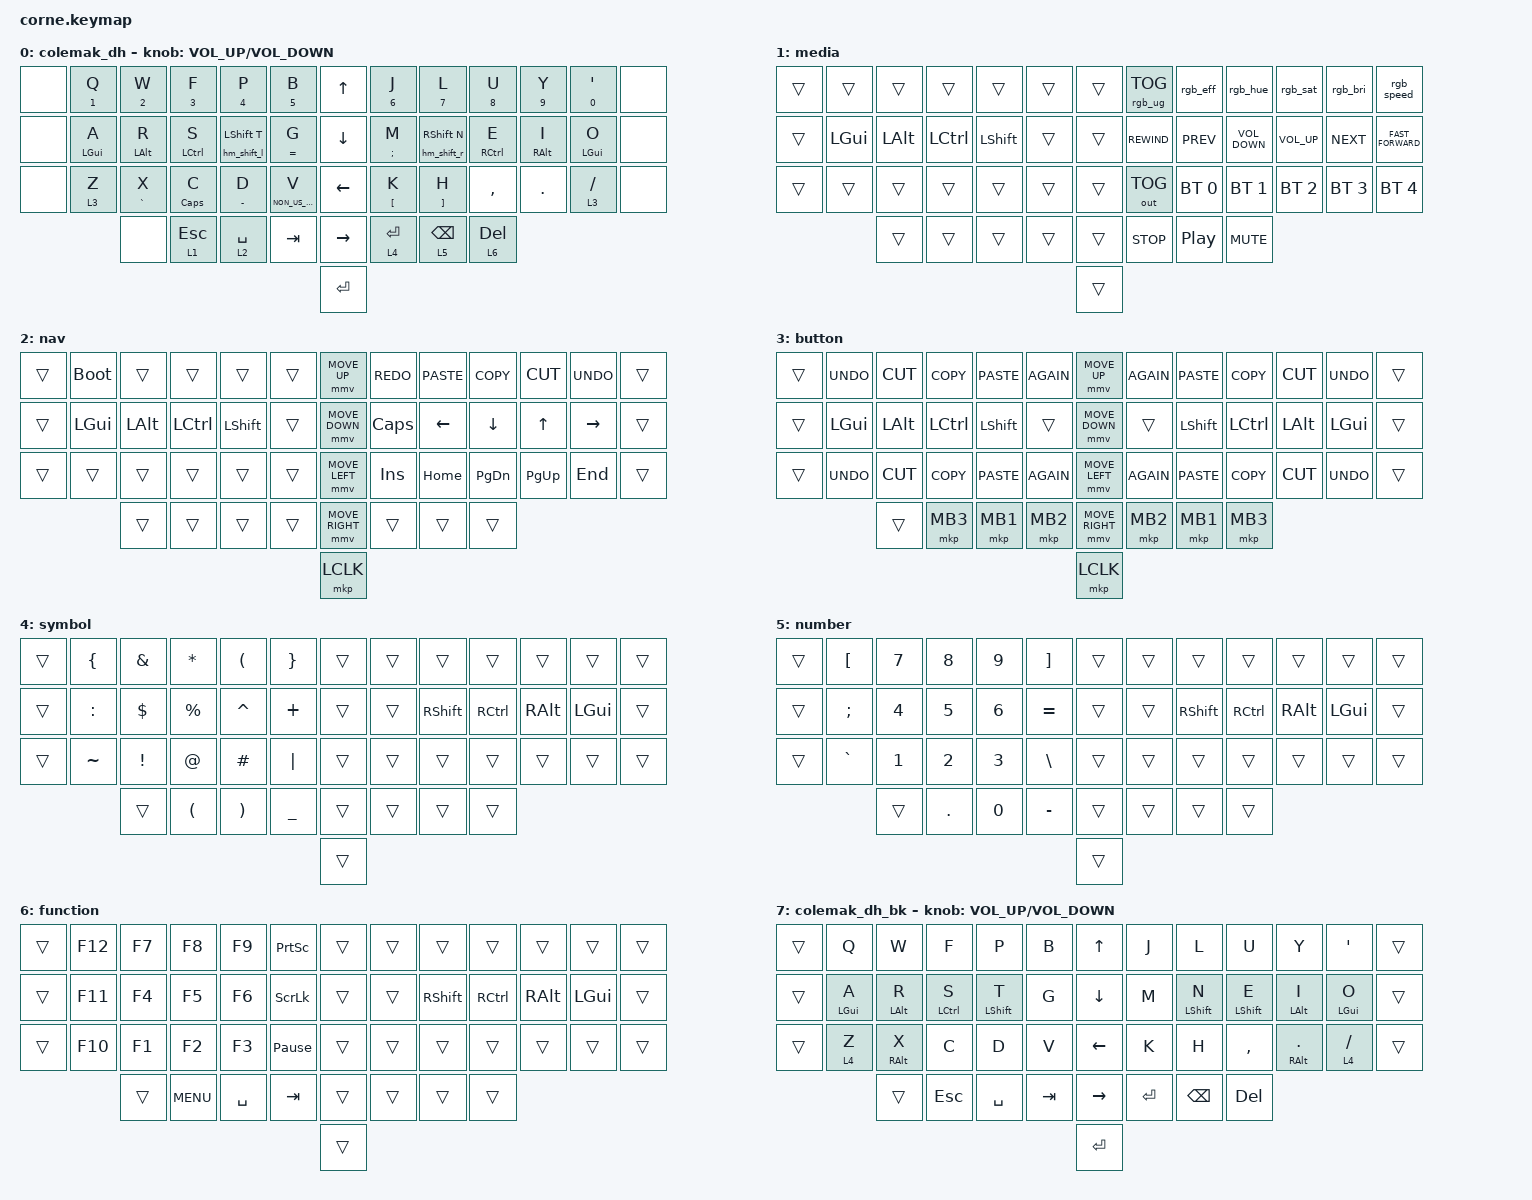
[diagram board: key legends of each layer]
#include <behaviors/mouse_keys.dtsi>
#include <dt-bindings/zmk/mouse.h>
#include <behaviors.dtsi>
#include <dt-bindings/zmk/bt.h>
#include <dt-bindings/zmk/keys.h>
#include <dt-bindings/zmk/outputs.h>
#include <dt-bindings/zmk/rgb.h>

#include "zmk-helpers/key-labels/42.h"

#define KEYS_L LT0 LT1 LT2 LT3 LT4 LM0 LM1 LM2 LM3 LM4 LB0 LB1 LB2 LB3 LB4
#define KEYS_R RT0 RT1 RT2 RT3 RT4 RM0 RM1 RM2 RM3 RM4 RB0 RB1 RB2 RB3 RB4
#define KEYS_T LH2 LH1 LH0 RH0 RH1 RH2

#include "includes/settings.dtsi"
#include "includes/behaviours_homerow_mods.dtsi"

#define U_MS_U &mmv MOVE_UP
#define U_MS_D &mmv MOVE_DOWN
#define U_MS_L &mmv MOVE_LEFT
#define U_MS_R &mmv MOVE_RIGHT


/ {
    behaviors {
        rgb_eff: rgb_eff {
            compatible = "zmk,behavior-mod-morph";
            label = "RGB_EFF";
            bindings = <&rgb_ug RGB_EFF>, <&rgb_ug RGB_EFR>;

            #binding-cells = <0>;
            mods = <(MOD_LSFT)>;
        };

        rgb_hue: rgb_hue {
            compatible = "zmk,behavior-mod-morph";
            label = "RGB_HUE";
            bindings = <&rgb_ug RGB_HUI>, <&rgb_ug RGB_HUD>;

            #binding-cells = <0>;
            mods = <(MOD_LSFT)>;
        };
        
        rgb_sat: rgb_sat {
            compatible = "zmk,behavior-mod-morph";
            label = "RGB_SAT";
            bindings = <&rgb_ug RGB_SAI>, <&rgb_ug RGB_SAD>;

            #binding-cells = <0>;
            mods = <(MOD_LSFT)>;
        };

        rgb_bri: rgb_bri {
            compatible = "zmk,behavior-mod-morph";
            label = "RGB_BRI";
            bindings = <&rgb_ug RGB_BRI>, <&rgb_ug RGB_BRD>;

            #binding-cells = <0>;
            mods = <(MOD_LSFT)>;
        };

        rgb_speed: rgb_speed {
            compatible = "zmk,behavior-mod-morph";
            label = "RGB_SPEED";
            bindings = <&rgb_ug RGB_SPI>, <&rgb_ug RGB_SPD>;

            #binding-cells = <0>;
            mods = <(MOD_LSFT)>;
        };

        number_mt: number_mt {
            compatible = "zmk,behavior-hold-tap";
            label = "NUMBER_MT";
            #binding-cells = <2>;
            tapping-term-ms = <250>;
            quick-tap-ms = <0>;
            flavor = "tap-preferred";
            bindings = <&kp>, <&kp>;
        };

        mmv {
            acceleration-exponent = <1>;      // 1
            time-to-max-speed-ms = <900>;    // 40
            delay-ms = <0>;                   // 0
        };

        msc {
            acceleration-exponent = <1>;      // 0
            time-to-max-speed-ms = <400>;      // 500
            delay-ms = <0>;                   // 10
        };
    };

    rgb_encoder: rgb_encoder {
        compatible = "zmk,behavior-sensor-rotate";
        label = "RGB_ENCODER";
        #sensor-binding-cells = <0>;
        bindings = <&rgb_ug RGB_BRI>, <&rgb_ug RGB_BRD>;
    };

    scroll_encoder: scroll_encoder {
        compatible = "zmk,behavior-sensor-rotate";
        #sensor-binding-cells = <0>;
        bindings = <&msc SCRL_DOWN>, <&msc SCRL_UP>;

        tap-ms = <30>;
    };

    keymap {
        compatible = "zmk,keymap";

        Base {
            bindings = <
&none  &number_mt NUMBER_1 Q  &number_mt NUMBER_2 W  &number_mt NUMBER_3 F  &number_mt NUMBER_4 P  &number_mt N5 B                  &kp UP_ARROW     &number_mt NUMBER_6 J      &number_mt N7 L             &number_mt N8 U        &mt N9 Y           &number_mt N0 SINGLE_QUOTE  &none
&none  &hm_l LEFT_GUI A       &hm_l LEFT_ALT R       &hm_l LEFT_CONTROL S   &hm_shift_l LSHIFT T   &number_mt EQUAL G               &kp DOWN_ARROW   &number_mt SEMICOLON M     &hm_shift_r RSHIFT N        &hm_r RIGHT_CONTROL E  &hm_r RIGHT_ALT I  &hm_r LEFT_GUI O            &none
&none  &lt 3 Z                &number_mt GRAVE X     &number_mt CAPS C      &number_mt MINUS D     &number_mt NON_US_BACKSLASH V    &kp LEFT_ARROW   &number_mt LEFT_BRACKET K  &number_mt RIGHT_BRACKET H  &kp COMMA              &kp PERIOD         &lt 3 SLASH                 &none
                              &none                  &lt 1 ESC              &lt 2 SPACE            &kp TAB                          &kp RIGHT_ARROW  &lt 4 ENTER                &lt 5 BACKSPACE             &lt 6 DEL
                                                                                                                                    &kp ENTER
            >;

            label = "colemak_dh";
            sensor-bindings = <&inc_dec_kp C_VOLUME_UP C_VOLUME_DOWN>;
        };

        Media {
            bindings = <
&trans  &trans    &trans    &trans     &trans     &trans    &trans  &rgb_ug RGB_TOG  &rgb_eff          &rgb_hue           &rgb_sat         &rgb_bri         &rgb_speed
&trans  &kp LGUI  &kp LALT  &kp LCTRL  &kp LSHFT  &trans    &trans  &kp C_REWIND     &kp C_PREV        &kp C_VOLUME_DOWN  &kp C_VOLUME_UP  &kp C_NEXT       &kp C_FAST_FORWARD
&trans  &trans    &trans    &trans     &trans     &trans    &trans  &out OUT_TOG     &bt BT_SEL 0      &bt BT_SEL 1       &bt BT_SEL 2     &bt BT_SEL 3     &bt BT_SEL 4
                  &trans    &trans     &trans     &trans    &trans  &kp C_STOP       &kp C_PLAY_PAUSE  &kp K_MUTE
                                                            &trans
            >;

            label = "media";
        };

        Nav {
            bindings = <
&trans  &bootloader  &trans    &trans     &trans     &trans    &mmv MOVE_UP     &kp K_REDO  &kp K_PASTE  &kp K_COPY  &kp K_CUT  &kp K_UNDO  &trans
&trans  &kp LGUI     &kp LALT  &kp LCTRL  &kp LSHFT  &trans    &mmv MOVE_DOWN   &kp CAPS    &kp LEFT     &kp DOWN    &kp UP     &kp RIGHT   &trans
&trans  &trans       &trans    &trans     &trans     &trans    &mmv MOVE_LEFT   &kp INS     &kp HOME     &kp PG_DN   &kp PG_UP  &kp END     &trans
                     &trans    &trans     &trans     &trans    &mmv MOVE_RIGHT  &trans      &trans       &trans
                                                               &mkp LCLK
            >;

            label = "nav";
        };

        Button {
            bindings = <
&trans  &kp K_UNDO  &kp K_CUT  &kp K_COPY  &kp K_PASTE  &kp K_AGAIN    &mmv MOVE_UP     &kp K_AGAIN  &kp K_PASTE  &kp K_COPY  &kp K_CUT  &kp K_UNDO  &trans
&trans  &kp LGUI    &kp LALT   &kp LCTRL   &kp LSHFT    &trans         &mmv MOVE_DOWN   &trans       &kp LSHFT    &kp LCTRL   &kp LALT   &kp LGUI    &trans
&trans  &kp K_UNDO  &kp K_CUT  &kp K_COPY  &kp K_PASTE  &kp K_AGAIN    &mmv MOVE_LEFT   &kp K_AGAIN  &kp K_PASTE  &kp K_COPY  &kp K_CUT  &kp K_UNDO  &trans
                    &trans     &mkp MB3    &mkp MB1     &mkp MB2       &mmv MOVE_RIGHT  &mkp MB2     &mkp MB1     &mkp MB3
                                                                       &mkp LCLK
            >;

            label = "button";
        };

        symbol {
            bindings = <
&trans  &kp LEFT_BRACE  &kp AMPERSAND    &kp ASTERISK          &kp LEFT_PARENTHESIS   &kp RIGHT_BRACE    &trans  &trans  &trans     &trans     &trans    &trans    &trans
&trans  &kp COLON       &kp DOLLAR       &kp PERCENT           &kp CARET              &kp PLUS           &trans  &trans  &kp RSHFT  &kp RCTRL  &kp RALT  &kp LGUI  &trans
&trans  &kp TILDE       &kp EXCLAMATION  &kp AT_SIGN           &kp POUND              &kp PIPE           &trans  &trans  &trans     &trans     &trans    &trans    &trans
                        &trans           &kp LEFT_PARENTHESIS  &kp RIGHT_PARENTHESIS  &kp UNDERSCORE     &trans  &trans  &trans     &trans
                                                                                                         &trans
            >;
        };

        Number {
            bindings = <
&trans  &kp LBKT   &kp N7  &kp N8   &kp N9  &kp RBKT     &trans  &trans  &trans     &trans     &trans    &trans    &trans
&trans  &kp SEMI   &kp N4  &kp N5   &kp N6  &kp EQUAL    &trans  &trans  &kp RSHFT  &kp RCTRL  &kp RALT  &kp LGUI  &trans
&trans  &kp GRAVE  &kp N1  &kp N2   &kp N3  &kp BSLH     &trans  &trans  &trans     &trans     &trans    &trans    &trans
                   &trans  &kp DOT  &kp N0  &kp MINUS    &trans  &trans  &trans     &trans
                                                         &trans
            >;

            label = "number";
        };

        Function {
            bindings = <
&trans  &kp F12  &kp F7  &kp F8      &kp F9     &kp PRINTSCREEN    &trans  &trans  &trans     &trans     &trans    &trans    &trans
&trans  &kp F11  &kp F4  &kp F5      &kp F6     &kp SCROLLLOCK     &trans  &trans  &kp RSHFT  &kp RCTRL  &kp RALT  &kp LGUI  &trans
&trans  &kp F10  &kp F1  &kp F2      &kp F3     &kp PAUSE_BREAK    &trans  &trans  &trans     &trans     &trans    &trans    &trans
                 &trans  &kp C_MENU  &kp SPACE  &kp TAB            &trans  &trans  &trans     &trans
                                                                   &trans
            >;

            label = "function";
        };

        layer_4 {
            label = "colemak_dh_bk";
            bindings = <
&trans  &kp Q       &kp W       &kp F        &kp P         &kp B      &kp UP_ARROW     &kp J      &kp L         &kp U         &kp Y         &kp SINGLE_QUOTE  &trans
&trans  &mt LGUI A  &mt LALT R  &mt LCTRL S  &mt LSHIFT T  &kp G      &kp DOWN_ARROW   &kp M      &mt LSHIFT N  &mt LSHIFT E  &mt LALT I    &mt LGUI O        &trans
&trans  &lt 4 Z     &mt RALT X  &kp C        &kp D         &kp V      &kp LEFT_ARROW   &kp K      &kp H         &kp COMMA     &mt RALT DOT  &lt 4 SLASH       &trans
                    &trans      &kp ESCAPE   &kp SPACE     &kp TAB    &kp RIGHT_ARROW  &kp ENTER  &kp BSPC      &kp DEL
                                                                      &kp ENTER
            >;

            sensor-bindings = <&inc_dec_kp C_VOLUME_UP C_VOLUME_DOWN>;
        };
    };
};
